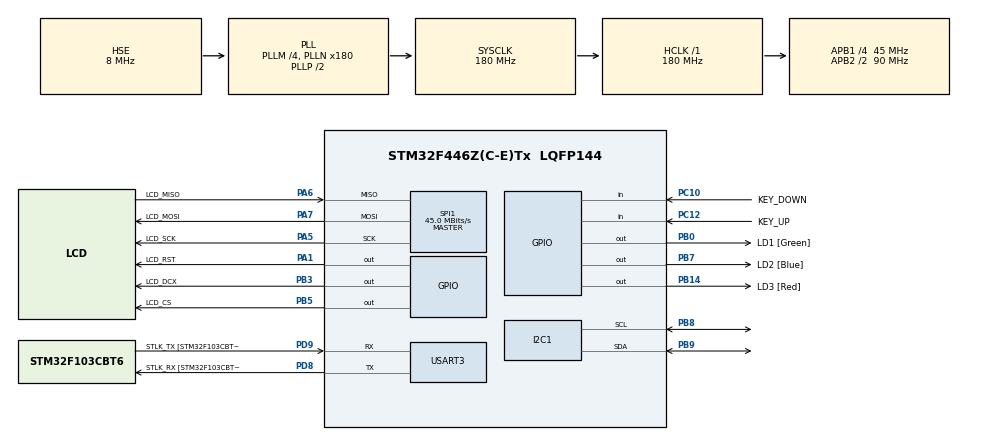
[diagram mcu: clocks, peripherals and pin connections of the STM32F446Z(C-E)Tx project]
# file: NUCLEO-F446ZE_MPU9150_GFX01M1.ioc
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Dma.Request0=SPI1_TX
Dma.SPI1_TX.0.Direction=DMA_MEMORY_TO_PERIPH
Dma.SPI1_TX.0.FIFOMode=DMA_FIFOMODE_DISABLE
Dma.SPI1_TX.0.Instance=DMA2_Stream3
Dma.SPI1_TX.0.MemDataAlignment=DMA_MDATAALIGN_BYTE
Dma.SPI1_TX.0.MemInc=DMA_MINC_ENABLE
Dma.SPI1_TX.0.Mode=DMA_NORMAL
Dma.SPI1_TX.0.PeriphDataAlignment=DMA_PDATAALIGN_BYTE
Dma.SPI1_TX.0.PeriphInc=DMA_PINC_DISABLE
Dma.SPI1_TX.0.Priority=DMA_PRIORITY_HIGH
I2C1.I2C_Mode=I2C_Fast
Mcu.Family=STM32F4
Mcu.Name=STM32F446Z(C-E)Tx
Mcu.Package=LQFP144
NVIC.DMA2_Stream3_IRQn=true\:0\:0\:false\:false\:true\:false\:true\:true
NVIC.PriorityGroup=NVIC_PRIORITYGROUP_4
NVIC.SPI1_IRQn=true\:0\:0\:false\:false\:true\:true\:true\:true
NVIC.TIM3_IRQn=true\:0\:0\:false\:false\:true\:true\:true\:true
NVIC.TIM4_IRQn=true\:0\:0\:false\:false\:true\:true\:true\:true
PA1.GPIO_Label=LCD_RST
PA1.GPIO_Speed=GPIO_SPEED_FREQ_VERY_HIGH
PA1.PinState=GPIO_PIN_SET
PA1.Signal=GPIO_Output
PA13.GPIO_Label=TMS
PA13.Mode=Serial_Wire
PA13.Signal=SYS_JTMS-SWDIO
PA14.GPIO_Label=TCK
PA14.Mode=Serial_Wire
PA14.Signal=SYS_JTCK-SWCLK
PA5.GPIO_Label=LCD_SCK
PA5.Mode=Full_Duplex_Master
PA5.Signal=SPI1_SCK
PA6.GPIO_Label=LCD_MISO
PA6.Mode=Full_Duplex_Master
PA6.Signal=SPI1_MISO
PA7.GPIO_Label=LCD_MOSI
PA7.Mode=Full_Duplex_Master
PA7.Signal=SPI1_MOSI
PB0.GPIO_Label=LD1 [Green]
PB0.Signal=GPIO_Output
PB14.GPIO_Label=LD3 [Red]
PB14.Signal=GPIO_Output
PB3.GPIO_Label=LCD_DCX
PB3.GPIO_Speed=GPIO_SPEED_FREQ_VERY_HIGH
PB3.PinState=GPIO_PIN_SET
PB3.Signal=GPIO_Output
PB5.GPIO_Label=LCD_CS
PB5.GPIO_Speed=GPIO_SPEED_FREQ_VERY_HIGH
PB5.PinState=GPIO_PIN_SET
PB5.Signal=GPIO_Output
PB7.GPIO_Label=LD2 [Blue]
PB7.Signal=GPIO_Output
PB8.Mode=I2C
PB8.Signal=I2C1_SCL
PB9.Mode=I2C
PB9.Signal=I2C1_SDA
PC10.GPIO_Label=KEY_DOWN
PC10.Signal=GPIO_Input
PC12.GPIO_Label=KEY_UP
PC12.Signal=GPIO_Input
PC14-OSC32_IN.Mode=LSE-External-Oscillator
PC14-OSC32_IN.Signal=RCC_OSC32_IN
PC15-OSC32_OUT.Mode=LSE-External-Oscillator
PC15-OSC32_OUT.Signal=RCC_OSC32_OUT
PD8.GPIO_Label=STLK_RX [STM32F103CBT6_PA3]
PD8.Mode=Asynchronous
PD8.Signal=USART3_TX
PD9.GPIO_Label=STLK_TX [STM32F103CBT6_PA2]
PD9.Mode=Asynchronous
PD9.Signal=USART3_RX
PH0-OSC_IN.GPIO_Label=MCO [STM32F103CBT6_PA8]
PH0-OSC_IN.Mode=HSE-External-Clock-Source
PH0-OSC_IN.Signal=RCC_OSC_IN
PH1-OSC_OUT.Mode=HSE-External-Clock-Source
PH1-OSC_OUT.Signal=RCC_OSC_OUT
ProjectManager.HeapSize=0x200
ProjectManager.StackSize=0x400
ProjectManager.TargetToolchain=STM32CubeIDE
RCC.48MHZClocksFreq_Value=24000000
RCC.AHBFreq_Value=180000000
RCC.APB1CLKDivider=RCC_HCLK_DIV4
RCC.APB1Freq_Value=45000000
RCC.APB1TimFreq_Value=90000000
RCC.APB2CLKDivider=RCC_HCLK_DIV2
RCC.APB2Freq_Value=90000000
RCC.APB2TimFreq_Value=180000000
RCC.CortexFreq_Value=180000000
RCC.HCLKFreq_Value=180000000
RCC.HSE_VALUE=8000000
RCC.HSI_VALUE=16000000
RCC.PLLM=4
RCC.PLLMUL=RCC_PLL_MUL9
RCC.PLLN=180
RCC.PLLQ=7
RCC.PLLSourceVirtual=RCC_PLLSOURCE_HSE
RCC.PRESCALERUSB=RCC_USBCLKSOURCE_PLL_DIV1_5
RCC.SYSCLKFreq_VALUE=180000000
RCC.SYSCLKSource=RCC_SYSCLKSOURCE_PLLCLK
RCC.SYSCLKSourceVirtual=RCC_SYSCLKSOURCE_PLLCLK
RCC.USBFreq_Value=51428571.428571425
RCC.VCOOutputFreq_Value=360000000
SPI1.CalculateBaudRate=45.0 MBits/s
SPI1.Direction=SPI_DIRECTION_2LINES
SPI1.Mode=SPI_MODE_MASTER
SPI1.VirtualType=VM_MASTER
STMicroelectronics.X-CUBE-TOUCHGFX.4.24.1.ApplicationCcGraphicsJjApplication=TouchGFXOoGenerator
STMicroelectronics.X-CUBE-TOUCHGFX.4.24.1.tgfx_buffering_strategy=Partial
STMicroelectronics.X-CUBE-TOUCHGFX.4.24.1.tgfx_custom_height=240
STMicroelectronics.X-CUBE-TOUCHGFX.4.24.1.tgfx_custom_width=320
STMicroelectronics.X-CUBE-TOUCHGFX.4.24.1_IsPackSelfContextualization=true
TIM3.Period=1399
TIM3.Prescaler=999
TIM4.Period=359
TIM4.Prescaler=999
USART3.VirtualMode=VM_ASYNC
VP_CRC_VS_CRC.Mode=CRC_Activate
VP_STMicroelectronics.X-CUBE-TOUCHGFX_VS_GraphicsJjApplication_4.24.1.Mode=GraphicsJjApplication
VP_TIM3_VS_ClockSourceINT.Mode=Internal
VP_TIM4_VS_ClockSourceINT.Mode=Internal
board=NUCLEO-F446ZE

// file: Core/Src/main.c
/* USER CODE BEGIN Header */
/**
  ******************************************************************************
  * @file           : main.c
  * @brief          : Main program body
  ******************************************************************************
  * @attention
  *
  * Copyright (c) 2025 STMicroelectronics.
  * All rights reserved.
  *
  * This software is licensed under terms that can be found in the LICENSE file
  * in the root directory of this software component.
  * If no LICENSE file comes with this software, it is provided AS-IS.
  *
  ******************************************************************************
  */
/* USER CODE END Header */
#include "main.h"
#include "crc.h"
#include "dma.h"
#include "i2c.h"
#include "spi.h"
#include "tim.h"
#include "usart.h"
#include "gpio.h"
#include "app_touchgfx.h"

/* USER CODE BEGIN Includes */
#include "gfx01m1_lcd.h"
#include "mpu9150.h"
/* USER CODE END Includes */

/* USER CODE BEGIN PV */
extern I2C_HandleTypeDef hi2c1;

imu mpu9150_imu = {
	.hi2c = &hi2c1,
	.dev_addr = 0x68,
	.angle_x = 0.0f,
	.angle_y = 0.0f,
};

uint8_t read_imu_flag = 0;
/* USER CODE END PV */

void SystemClock_Config(void);

int main(void)
{

  /* MCU Configuration--------------------------------------------------------*/

  /* Reset of all peripherals, Initializes the Flash interface and the Systick. */
  HAL_Init();

  /* Configure the system clock */
  SystemClock_Config();

  /* Initialize all configured peripherals */
  MX_GPIO_Init();
  MX_DMA_Init();
  MX_USART3_UART_Init();
  MX_I2C1_Init();
  MX_SPI1_Init();
  MX_CRC_Init();
  MX_TIM3_Init();
  MX_TIM4_Init();
  MX_TouchGFX_Init();
  /* USER CODE BEGIN 2 */
  gfx01m1_lcd_init();
  /* USER CODE END 2 */

  /* Infinite loop */
  /* USER CODE BEGIN WHILE */
  //mpu9150_read(&mpu9150_imu, MPU9150_WHO_AM_I, &addr, sizeof(addr));
  //if (addr != 0x68)
  //{
//	  while(1);
  //}

  mpu9150_init(&mpu9150_imu);

  mpu9150_calibrate(&mpu9150_imu);

  while (1)
  {
	  if (read_imu_flag == 1)
	  {
		  read_imu_flag = 0;
		  mpu9150_read_gyro(&mpu9150_imu, &mpu9150_imu.gyro_x_raw);

		  mpu9150_read_accel(&mpu9150_imu, &mpu9150_imu.accel_x_raw);

		  mpu9150_convert_from_raw(&mpu9150_imu);

		  mpu9150_get_angle(&mpu9150_imu);
	  }
    /* USER CODE END WHILE */

  MX_TouchGFX_Process();
  }
}

void SystemClock_Config(void)
{
  RCC_OscInitTypeDef RCC_OscInitStruct = {0};
  RCC_ClkInitTypeDef RCC_ClkInitStruct = {0};

  /** Configure the main internal regulator output voltage
  */
  __HAL_RCC_PWR_CLK_ENABLE();
  __HAL_PWR_VOLTAGESCALING_CONFIG(PWR_REGULATOR_VOLTAGE_SCALE1);

  /** Initializes the RCC Oscillators according to the specified parameters
  * in the RCC_OscInitTypeDef structure.
  */
  RCC_OscInitStruct.OscillatorType = RCC_OSCILLATORTYPE_HSE;
  RCC_OscInitStruct.HSEState = RCC_HSE_BYPASS;
  RCC_OscInitStruct.PLL.PLLState = RCC_PLL_ON;
  RCC_OscInitStruct.PLL.PLLSource = RCC_PLLSOURCE_HSE;
  RCC_OscInitStruct.PLL.PLLM = 4;
  RCC_OscInitStruct.PLL.PLLN = 180;
  RCC_OscInitStruct.PLL.PLLP = RCC_PLLP_DIV2;
  RCC_OscInitStruct.PLL.PLLQ = 7;
  RCC_OscInitStruct.PLL.PLLR = 2;
  if (HAL_RCC_OscConfig(&RCC_OscInitStruct) != HAL_OK)
  {
    Error_Handler();
  }

  /** Activate the Over-Drive mode
  */
  if (HAL_PWREx_EnableOverDrive() != HAL_OK)
  {
    Error_Handler();
  }

  /** Initializes the CPU, AHB and APB buses clocks
  */
  RCC_ClkInitStruct.ClockType = RCC_CLOCKTYPE_HCLK|RCC_CLOCKTYPE_SYSCLK
                              |RCC_CLOCKTYPE_PCLK1|RCC_CLOCKTYPE_PCLK2;
  RCC_ClkInitStruct.SYSCLKSource = RCC_SYSCLKSOURCE_PLLCLK;
  RCC_ClkInitStruct.AHBCLKDivider = RCC_SYSCLK_DIV1;
  RCC_ClkInitStruct.APB1CLKDivider = RCC_HCLK_DIV4;
  RCC_ClkInitStruct.APB2CLKDivider = RCC_HCLK_DIV2;

  if (HAL_RCC_ClockConfig(&RCC_ClkInitStruct, FLASH_LATENCY_5) != HAL_OK)
  {
    Error_Handler();
  }
}

/* USER CODE BEGIN 4 */
extern void touchgfxSignalVSync(void);

void HAL_TIM_PeriodElapsedCallback(TIM_HandleTypeDef *htim)
{
	if (htim->Instance == TIM3)
	{
		touchgfxSignalVSync();
	}

	if (htim->Instance == TIM4)
	{
		/* Set flag to read & update IMU data */
		read_imu_flag = 1;
		return;
	}
}

/* USER CODE END 4 */

void Error_Handler(void)
{
  __disable_irq();
  while (1)
  {
  }
}
